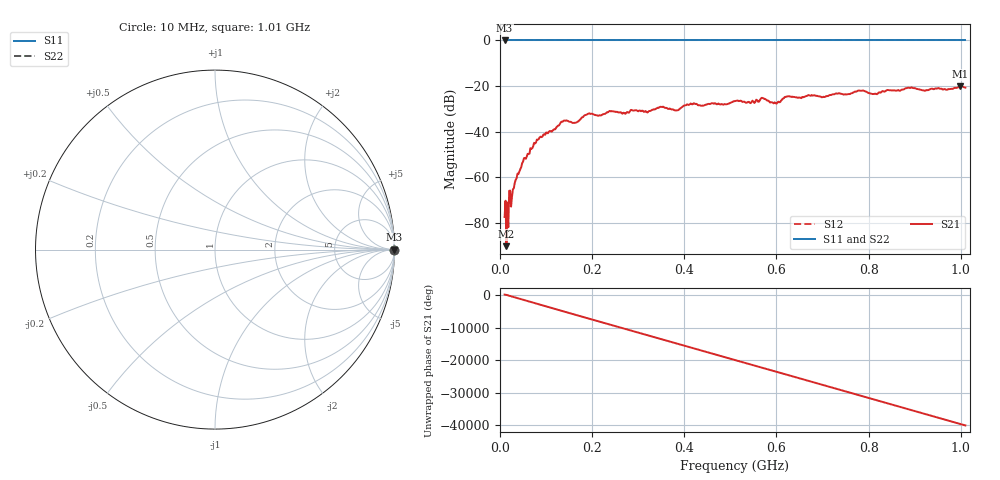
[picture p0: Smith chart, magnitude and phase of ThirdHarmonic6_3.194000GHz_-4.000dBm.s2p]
! 8/17/2025 9:40:44 AM
! C:\ANRITSUVNA\TEMP\TEMP.S2P
! CHANNEL.1
! TR.MEASUREMENT
! RAW.DATA
! RF.CORRECTION.OFF
! AVERAGING.OFF
! IF.BANDWIDTH: 5KHZ
! SWEEPTYPE:  FREQ.SWEEP(Linear)
! Reference Plane Port Info
! PORT:  PORT1  PORT2
! DISTANCE:  0  m  0  m
! TIME:  0  s  0  s
! PHASE.OFFSET:  0  deg.  0  deg.
! LOSS:  0  dB  0  dB
! REF.LOSS:  0  dB  0  dB
! REF.FREQ:  0  Hz  0  Hz
! Power Info
! POWER:  -20  dBm  -20  dBm
! EFF.POWER:  -20  dBm  -20  dBm
! SOURCE.ATTEN:  0  dB  0  dB
! TEST.ATTEN:  0  dB  0  dB
# GHZ S RI R 50.0
! FREQ.GHZ  S11RE  S11IM  S21RE  S21IM  S12RE  S12IM  S22RE  S22IM
!; PortSelection: Port_12
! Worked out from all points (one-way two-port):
!   501 points, 10 MHz to 1.01 GHz, reference 50 ohm
!   highest |S21| = -20.14 dB at 998 MHz (marker M1); lowest = -90.3 dB at 14 MHz (marker M2)
!   lowest |S11| = 0.0 dB at 10 MHz (marker M3)
!   |S11| at or under -10 dB: nowhere
!   |S22| runs from 0.0 to 0.0 dB; largest |S21 - S12| = 1.1
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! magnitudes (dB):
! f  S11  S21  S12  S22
! 10 MHz  0.0  -77.5  0.0  0.0
! 14 MHz  0.0  -90.3  0.0  0.0
! 22 MHz  0.0  -65.9  0.0  0.0
! 24 MHz  0.0  -73.0  0.0  0.0
! 28 MHz  0.0  -65.4  0.0  0.0
! 36 MHz  0.0  -60.5  0.0  0.0
! 50 MHz  0.0  -53.3  0.0  0.0
! 78 MHz  0.0  -44.9  0.0  0.0
! 136 MHz  0.0  -35.7  0.0  0.0
! 162 MHz  0.0  -36.2  0.0  0.0
! 178 MHz  0.0  -33.8  0.0  0.0
! 344 MHz  0.0  -29.6  0.0  0.0
! 384 MHz  0.0  -30.7  0.0  0.0
! 410 MHz  0.0  -28.3  0.0  0.0
! 510 MHz  0.0  -26.6  0.0  0.0
! 570 MHz  0.0  -25.3  0.0  0.0
! 598 MHz  0.0  -27.5  0.0  0.0
! 622 MHz  0.0  -24.7  0.0  0.0
! 678 MHz  0.0  -24.2  0.0  0.0
! 844 MHz  0.0  -21.8  0.0  0.0
! 998 MHz  0.0  -20.1  0.0  0.0
! 1.01 GHz  0.0  -20.7  0.0  0.0
